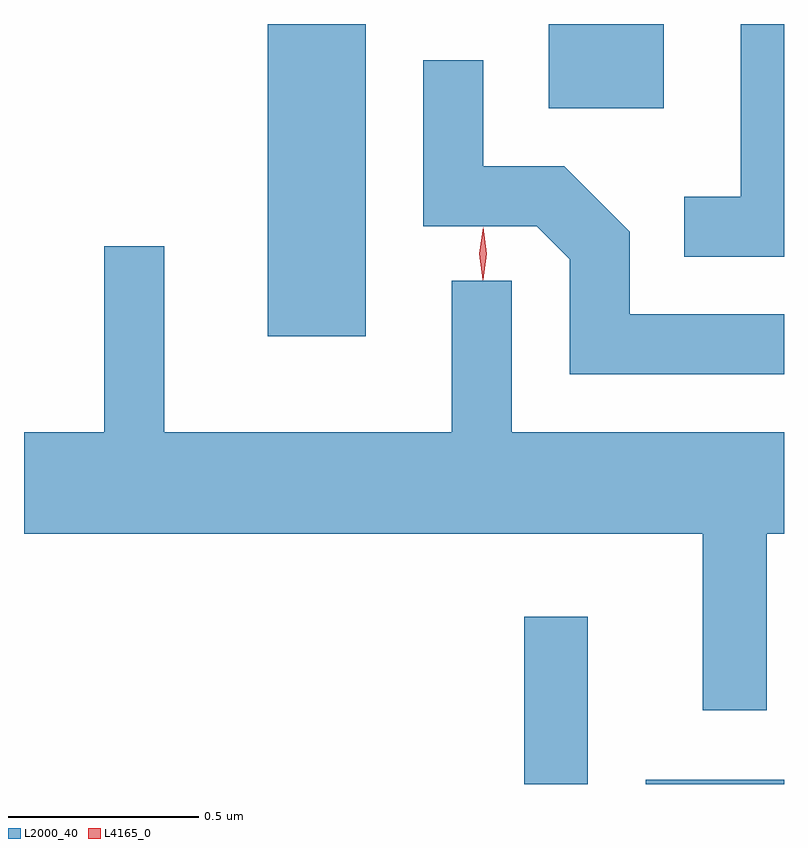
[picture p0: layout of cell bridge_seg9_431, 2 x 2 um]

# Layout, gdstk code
import gdstk
lib = gdstk.Library(unit=1e-6, precision=1e-09)
def R(c, l, rs):  # rectangles x0, y0, x1, y1
    for r in rs: c.add(gdstk.rectangle(r[:2], r[2:], *l))
def P(c, l, *ps):  # polygons
    for p in ps: c.add(gdstk.Polygon(p, *l))
L2000_40 = (2000, 40)
L4165_0 = (4165, 0)

bridge_seg9_431 = lib.new_cell('bridge_seg9_431')
R(bridge_seg9_431, L2000_40, [(478.981,2053.318,479.149,2053.758), (479.301,2053.318,479.665,2053.329), (478.306,2054.496,478.564,2055.318), (479.046,2055.096,479.349,2055.318)])
P(bridge_seg9_431, L2000_40, [(479.665,2055.318),(479.551,2055.318),(479.551,2054.864),(479.403,2054.864),(479.403,2054.706),(479.665,2054.706)],
  [(479.665,2054.554),(479.259,2054.554),(479.259,2054.771),(479.087,2054.944),(478.874,2054.944),(478.874,2055.222),(478.716,2055.222),(478.716,2054.786),(479.014,2054.786),(479.101,2054.699),(479.101,2054.396),(479.665,2054.396)],
  [(479.619,2053.976),(479.665,2053.976),(479.665,2054.244),(478.949,2054.244),(478.949,2054.643),(478.791,2054.643),(478.791,2054.244),(478.034,2054.244),(478.034,2054.733),(477.876,2054.733),(477.876,2054.244),(477.665,2054.244),(477.665,2053.976),(479.451,2053.976),(479.451,2053.512),(479.619,2053.512)])
P(bridge_seg9_431, L4165_0, [(478.872,2054.647),(478.872,2054.648),(478.863,2054.714),(478.873,2054.78),(478.874,2054.781),(478.874,2054.78),(478.883,2054.714),(478.873,2054.648)],
  [(478.872,2054.644),(478.872,2054.645),(478.863,2054.714),(478.873,2054.783),(478.874,2054.783),(478.874,2054.783),(478.883,2054.714),(478.873,2054.645)])

lib.write_gds('bridge_seg9_431.gds')
